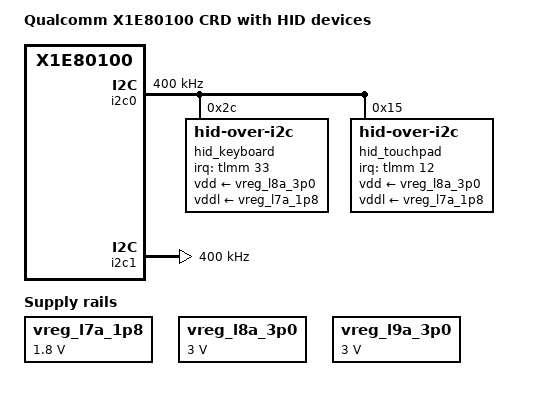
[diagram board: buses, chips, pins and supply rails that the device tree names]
// SPDX-License-Identifier: GPL-2.0+
/*
 * Example device tree configuration for HID over I2C devices
 * on Qualcomm X1E80100 (Snapdragon X Elite) platforms
 */

/dts-v1/;

/ {
	model = "Qualcomm X1E80100 CRD with HID devices";
	compatible = "qcom,x1e80100-crd", "qcom,x1e80100";
	#address-cells = <2>;
	#size-cells = <2>;

	aliases {
		i2c0 = &i2c0;
		keyboard0 = &hid_keyboard;
		touchpad0 = &hid_touchpad;
	};

	chosen {
		stdout-path = "serial0:115200n8";
	};

	/* I2C bus configuration - typical for X1E80100 platforms */
	i2c0: i2c@880000 {
		compatible = "qcom,i2c-qup-v2.2.1";
		reg = <0x0 0x880000 0x0 0x4000>;
		#address-cells = <1>;
		#size-cells = <0>;
		clock-frequency = <400000>;
		status = "okay";

		/*
		 * Example HID over I2C keyboard
		 * Common on Qualcomm X1E laptops
		 */
		hid_keyboard: keyboard@2c {
			compatible = "hid-over-i2c";
			reg = <0x2c>;
			hid-descr-addr = <0x0020>;
			interrupt-parent = <&tlmm>;
			interrupts = <33 IRQ_TYPE_LEVEL_LOW>;
			
			/* Power management for X1E platforms */
			vdd-supply = <&vreg_l8a_3p0>;
			vddl-supply = <&vreg_l7a_1p8>;
			post-power-on-delay-ms = <100>;
			
			status = "okay";
		};

		/*
		 * Example HID over I2C touchpad
		 * Typical ELAN or Synaptics configuration
		 */
		hid_touchpad: touchpad@15 {
			compatible = "hid-over-i2c";
			reg = <0x15>;
			hid-descr-addr = <0x0001>;
			interrupt-parent = <&tlmm>;
			interrupts = <12 IRQ_TYPE_LEVEL_LOW>;
			
			/* Touchpad specific properties */
			vdd-supply = <&vreg_l8a_3p0>;
			vddl-supply = <&vreg_l7a_1p8>;
			post-power-on-delay-ms = <200>;
			
			/* Touchscreen/touchpad specific properties */
			touchscreen-inverted-x;
			touchscreen-inverted-y;
			
			status = "okay";
		};

		/*
		 * Alternative touchpad configuration for different vendors
		 */
		hid_touchpad_alt: touchpad@2c {
			compatible = "elan,ekth3000", "hid-over-i2c";
			reg = <0x2c>;
			hid-descr-addr = <0x0001>;
			interrupt-parent = <&tlmm>;
			interrupts = <9 IRQ_TYPE_EDGE_FALLING>;
			
			vdd-supply = <&vreg_l8a_3p0>;
			post-power-on-delay-ms = <100>;
			
			status = "disabled";
		};
	};

	/* Example I2C1 bus for additional HID devices */
	i2c1: i2c@884000 {
		compatible = "qcom,i2c-qup-v2.2.1";
		reg = <0x0 0x884000 0x0 0x4000>;
		#address-cells = <1>;
		#size-cells = <0>;
		clock-frequency = <400000>;
		status = "okay";

		/*
		 * Touch screen example
		 */
		hid_touchscreen: touchscreen@10 {
			compatible = "hid-over-i2c";
			reg = <0x10>;
			hid-descr-addr = <0x0001>;
			interrupt-parent = <&tlmm>;
			interrupts = <31 IRQ_TYPE_LEVEL_LOW>;
			
			vdd-supply = <&vreg_l9a_3p0>;
			vddl-supply = <&vreg_l7a_1p8>;
			post-power-on-delay-ms = <120>;
			
			touchscreen-size-x = <1920>;
			touchscreen-size-y = <1080>;
			
			status = "disabled";
		};
	};

	/* Regulators commonly found on X1E platforms */
	regulators {
		compatible = "simple-bus";
		
		vreg_l7a_1p8: l7a-1p8 {
			compatible = "regulator-fixed";
			regulator-name = "vreg_l7a_1p8";
			regulator-min-microvolt = <1800000>;
			regulator-max-microvolt = <1800000>;
			regulator-always-on;
		};
		
		vreg_l8a_3p0: l8a-3p0 {
			compatible = "regulator-fixed";
			regulator-name = "vreg_l8a_3p0";
			regulator-min-microvolt = <3000000>;
			regulator-max-microvolt = <3000000>;
			regulator-always-on;
		};
		
		vreg_l9a_3p0: l9a-3p0 {
			compatible = "regulator-fixed";
			regulator-name = "vreg_l9a_3p0";
			regulator-min-microvolt = <3000000>;
			regulator-max-microvolt = <3000000>;
		};
	};

	/* GPIO controller stub - would reference actual X1E TLMM */
	tlmm: pinctrl@f000000 {
		compatible = "qcom,x1e80100-tlmm";
		reg = <0x0 0xf000000 0x0 0x1000000>;
		gpio-controller;
		#gpio-cells = <2>;
		interrupt-controller;
		#interrupt-cells = <2>;
	};
};

/*
 * Configuration notes for X1E80100 HID over I2C devices:
 * 
 * 1. I2C addresses commonly used:
 *    - 0x15: Synaptics touchpads
 *    - 0x2C: ELAN touchpads/keyboards  
 *    - 0x10: Various touchscreens
 *    - 0x5C: Some alternative configurations
 *
 * 2. HID descriptor addresses:
 *    - 0x0001: Most common for touchpads
 *    - 0x0020: Alternative address for some devices
 *
 * 3. Power supplies:
 *    - VDD: 3.0V main supply
 *    - VDDL: 1.8V logic supply
 *    - Post-power delays vary by device (100-200ms typical)
 *
 * 4. Interrupts:
 *    - Most devices use level-triggered low interrupts
 *    - Some ELAN devices prefer edge-triggered falling
 *
 * 5. Vendor-specific compatibles:
 *    - "elan,ekth3000" for ELAN touchpads
 *    - "wacom,w9013" for Wacom digitizers
 *    - "synaptics,tm3038-005" for Synaptics touchpads
 */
